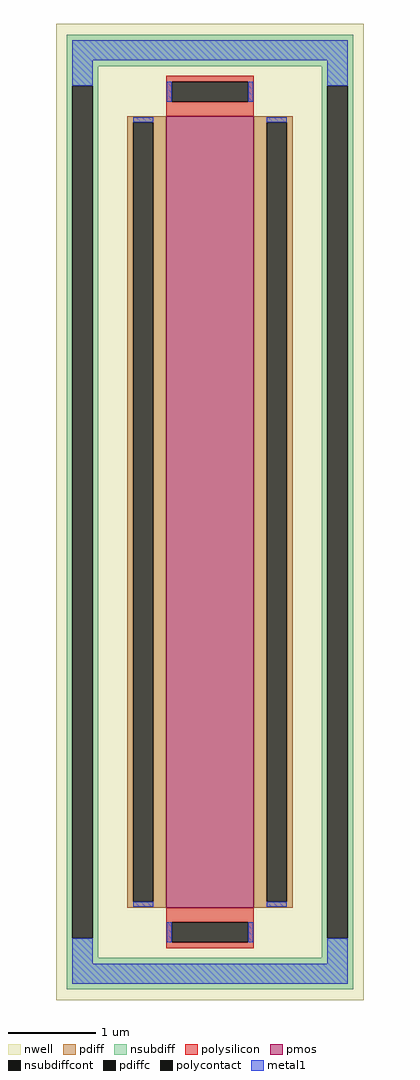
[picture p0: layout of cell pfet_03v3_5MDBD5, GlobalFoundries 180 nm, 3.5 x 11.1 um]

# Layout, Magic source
magic
tech gf180mcuD
magscale 1 10
<< nwell >>
rect -350 -1110 350 1110
<< pmos >>
rect -100 -900 100 900
<< pdiff >>
rect -188 887 -100 900
rect -188 -887 -175 887
rect -129 -887 -100 887
rect -188 -900 -100 -887
rect 100 887 188 900
rect 100 -887 129 887
rect 175 -887 188 887
rect 100 -900 188 -887
<< pdiffc >>
rect -175 -887 -129 887
rect 129 -887 175 887
<< nsubdiff >>
rect -326 1014 326 1086
rect -326 970 -254 1014
rect -326 -970 -313 970
rect -267 -970 -254 970
rect 254 970 326 1014
rect -326 -1014 -254 -970
rect 254 -970 267 970
rect 313 -970 326 970
rect 254 -1014 326 -970
rect -326 -1086 326 -1014
<< nsubdiffcont >>
rect -313 -970 -267 970
rect 267 -970 313 970
<< polysilicon >>
rect -100 979 100 992
rect -100 933 -87 979
rect 87 933 100 979
rect -100 900 100 933
rect -100 -933 100 -900
rect -100 -979 -87 -933
rect 87 -979 100 -933
rect -100 -992 100 -979
<< polycontact >>
rect -87 933 87 979
rect -87 -979 87 -933
<< metal1 >>
rect -313 1027 313 1073
rect -313 970 -267 1027
rect -98 933 -87 979
rect 87 933 98 979
rect 267 970 313 1027
rect -175 887 -129 898
rect -175 -898 -129 -887
rect 129 887 175 898
rect 129 -898 175 -887
rect -313 -1027 -267 -970
rect -98 -979 -87 -933
rect 87 -979 98 -933
rect 267 -1027 313 -970
rect -313 -1073 313 -1027
<< properties >>
string FIXED_BBOX -290 -1050 290 1050
string gencell pfet_03v3
string library gf180mcu
string parameters w 9.0 l 1.0 m 1 nf 1 diffcov 100 polycov 100 guard 1 glc 1 grc 1 gtc 0 gbc 0 tbcov 100 rlcov 100 topc 1 botc 1 poverlap 0 doverlap 1 lmin 0.28 wmin 0.22 class mosfet full_metal 1 compatible {pfet_03v3 pfet_05v0 pfet_06v0}
<< end >>
